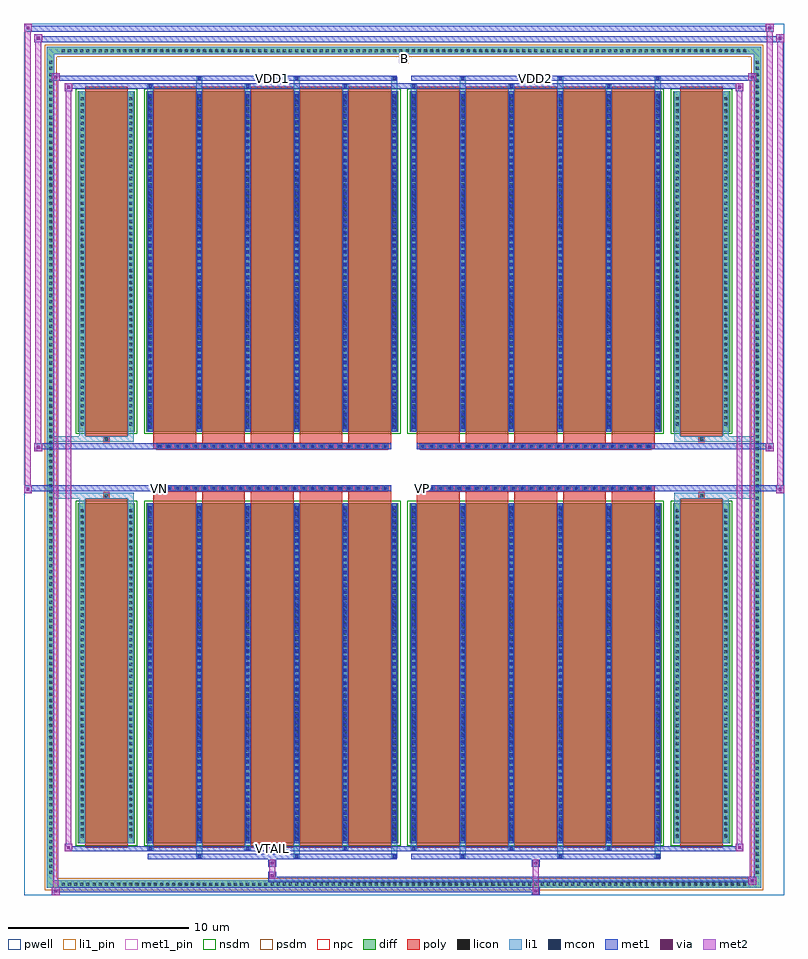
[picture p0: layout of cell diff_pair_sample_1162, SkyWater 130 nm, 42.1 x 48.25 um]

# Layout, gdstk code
import gdstk
lib = gdstk.Library(unit=1e-6, precision=5e-09)
def R(c, l, rs):  # rectangles x0, y0, x1, y1
    for r in rs: c.add(gdstk.rectangle(r[:2], r[2:], *l))
def A(c, l, x, y, w, h, nx, ny, dx, dy):  # array of equal rectangles
    R(c, l, [(x+i*dx, y+j*dy, x+i*dx+w, y+j*dy+h) for i in range(nx) for j in range(ny)])
def P(c, l, *ps):  # polygons
    for p in ps: c.add(gdstk.Polygon(p, *l))
pwell = (64, 44)
diff = (65, 20)
poly = (66, 20)
licon = (66, 44)
li1_pin = (67, 16)
li1 = (67, 20)
mcon = (67, 44)
met1_pin = (68, 16)
met1 = (68, 20)
via = (68, 44)
met2 = (69, 20)
nsdm = (93, 44)
psdm = (94, 20)
npc = (95, 20)

diff_pair_sample_1162 = lib.new_cell('diff_pair_sample_1162')
R(diff_pair_sample_1162, pwell, [(-21.05,-23.69,21.05,24.56), (-18.37,-21.88,-0.01,-0.8), (0.01,-21.88,18.37,-0.8), (-18.37,0.8,-0.01,21.88), (0.01,0.8,18.37,21.88)])
A(diff_pair_sample_1162, diff, -19.075, -23.29, 0.41, 0.41, 112, 2, 0.34, 46.17)
A(diff_pair_sample_1162, diff, -19.78, -22.645, 0.41, 0.41, 1, 133, 0, 0.34)
A(diff_pair_sample_1162, diff, 19.37, -22.645, 0.41, 0.41, 1, 133, 0, 0.34)
R(diff_pair_sample_1162, diff, [(-19.075,-23.29,19.075,-22.88), (-19.78,-22.645,-19.37,22.645), (19.37,-22.645,19.78,22.645), (-18.06,-20.835,-14.91,-1.985), (-14.27,-20.835,-0.32,-1.985), (0.32,-20.835,14.27,-1.985), (14.91,-20.835,18.06,-1.985), (-18.06,1.985,-14.91,20.835), (-14.27,1.985,-0.32,20.835), (0.32,1.985,14.27,20.835), (14.91,1.985,18.06,20.835), (-19.075,22.88,19.075,23.29)])
P(diff_pair_sample_1162, diff, [(19.78,23.29),(-19.78,23.29),(-19.78,-22.88),(-19.37,-22.88),(-19.37,22.88),(19.37,22.88),(19.37,-22.88),(-19.37,-22.88),(-19.78,-22.88),(-19.78,-23.29),(19.78,-23.29)])
A(diff_pair_sample_1162, poly, -13.88, -21.085, 2.37, 19.35, 5, 2, 2.7, 22.82)
A(diff_pair_sample_1162, poly, 0.71, -21.085, 2.37, 19.35, 5, 2, 2.7, 22.82)
A(diff_pair_sample_1162, poly, -13.88, -1.735, 2.37, 0.405, 5, 2, 2.7, 3.065)
A(diff_pair_sample_1162, poly, 0.71, -1.735, 2.37, 0.405, 5, 2, 2.7, 3.065)
A(diff_pair_sample_1162, poly, -13.71, -1.33, 0.33, 0.33, 26, 2, 0.5, 2.33)
A(diff_pair_sample_1162, poly, 0.88, -1.33, 0.33, 0.33, 26, 2, 0.5, 2.33)
R(diff_pair_sample_1162, poly, [(-17.67,-21.085,-15.3,-1.735), (15.3,-21.085,17.67,-1.735), (-16.65,-1.735,-16.32,-1.405), (-16.65,-1.735,-16.32,-1.405), (16.32,-1.735,16.65,-1.405), (16.32,-1.735,16.65,-1.405), (-13.88,-1.33,-0.71,-1), (0.71,-1.33,13.88,-1), (-13.88,1,-0.71,1.33), (0.71,1,13.88,1.33), (-16.65,1.405,-16.32,1.735), (-16.65,1.405,-16.32,1.735), (16.32,1.405,16.65,1.735), (16.32,1.405,16.65,1.735), (-17.67,1.735,-15.3,21.085), (15.3,1.735,17.67,21.085)])
A(diff_pair_sample_1162, licon, -18.955, -23.17, 0.17, 0.17, 112, 2, 0.34, 46.17)
A(diff_pair_sample_1162, licon, -19.66, -22.525, 0.17, 0.17, 1, 133, 0, 0.34)
A(diff_pair_sample_1162, licon, 19.49, -22.525, 0.17, 0.17, 1, 133, 0, 0.34)
A(diff_pair_sample_1162, licon, -17.92, -20.505, 0.17, 0.17, 1, 54, 0, 0.34)
A(diff_pair_sample_1162, licon, -15.22, -20.505, 0.17, 0.17, 1, 54, 0, 0.34)
A(diff_pair_sample_1162, licon, -14.13, -20.505, 0.17, 0.17, 6, 54, 2.7, 0.34)
A(diff_pair_sample_1162, licon, 0.46, -20.505, 0.17, 0.17, 6, 54, 2.7, 0.34)
A(diff_pair_sample_1162, licon, 15.05, -20.505, 0.17, 0.17, 1, 54, 0, 0.34)
A(diff_pair_sample_1162, licon, 17.75, -20.505, 0.17, 0.17, 1, 54, 0, 0.34)
A(diff_pair_sample_1162, licon, -13.63, -1.25, 0.17, 0.17, 26, 2, 0.5, 2.33)
A(diff_pair_sample_1162, licon, 0.96, -1.25, 0.17, 0.17, 26, 2, 0.5, 2.33)
A(diff_pair_sample_1162, licon, -17.92, 2.315, 0.17, 0.17, 1, 54, 0, 0.34)
A(diff_pair_sample_1162, licon, -15.22, 2.315, 0.17, 0.17, 1, 54, 0, 0.34)
A(diff_pair_sample_1162, licon, -14.13, 2.315, 0.17, 0.17, 6, 54, 2.7, 0.34)
A(diff_pair_sample_1162, licon, 0.46, 2.315, 0.17, 0.17, 6, 54, 2.7, 0.34)
A(diff_pair_sample_1162, licon, 15.05, 2.315, 0.17, 0.17, 1, 54, 0, 0.34)
A(diff_pair_sample_1162, licon, 17.75, 2.315, 0.17, 0.17, 1, 54, 0, 0.34)
R(diff_pair_sample_1162, licon, [(-16.57,-1.655,-16.4,-1.485), (16.4,-1.655,16.57,-1.485), (-16.57,1.485,-16.4,1.655), (16.4,1.485,16.57,1.655)])
R(diff_pair_sample_1162, li1_pin, [(-0.25,22.38,0.25,22.88)])
A(diff_pair_sample_1162, li1, -19.035, -23.25, 0.33, 0.33, 112, 2, 0.34, 46.17)
A(diff_pair_sample_1162, li1, -19.74, -22.605, 0.33, 0.33, 1, 133, 0, 0.34)
A(diff_pair_sample_1162, li1, 19.41, -22.605, 0.33, 0.33, 1, 133, 0, 0.34)
A(diff_pair_sample_1162, li1, -11.51, -21.64, 0.33, 0.805, 3, 2, 5.4, 42.475)
A(diff_pair_sample_1162, li1, -11.43, -21.64, 0.17, 0.17, 3, 2, 5.4, 43.11)
A(diff_pair_sample_1162, li1, 3.08, -21.64, 0.33, 0.805, 3, 2, 5.4, 42.475)
A(diff_pair_sample_1162, li1, 3.16, -21.64, 0.17, 0.17, 3, 2, 5.4, 43.11)
A(diff_pair_sample_1162, li1, -14.21, -21.21, 0.33, 0.375, 3, 2, 5.4, 42.045)
A(diff_pair_sample_1162, li1, -14.13, -21.21, 0.17, 0.17, 3, 2, 5.4, 42.25)
A(diff_pair_sample_1162, li1, 0.38, -21.21, 0.33, 0.375, 3, 2, 5.4, 42.045)
A(diff_pair_sample_1162, li1, 0.46, -21.21, 0.17, 0.17, 3, 2, 5.4, 42.25)
A(diff_pair_sample_1162, li1, -14.21, -20.835, 0.33, 18.85, 6, 2, 2.7, 22.82)
A(diff_pair_sample_1162, li1, 0.38, -20.835, 0.33, 18.85, 6, 2, 2.7, 22.82)
A(diff_pair_sample_1162, li1, -14.13, -20.675, 0.17, 0.17, 6, 52, 2.7, 0.36)
A(diff_pair_sample_1162, li1, -14.13, -20.675, 0.17, 18.53, 6, 2, 2.7, 22.82)
A(diff_pair_sample_1162, li1, 0.46, -20.675, 0.17, 0.17, 6, 52, 2.7, 0.36)
A(diff_pair_sample_1162, li1, 0.46, -20.675, 0.17, 18.53, 6, 2, 2.7, 22.82)
A(diff_pair_sample_1162, li1, -18, -20.585, 0.33, 0.33, 1, 54, 0, 0.34)
A(diff_pair_sample_1162, li1, -15.3, -20.585, 0.33, 0.33, 1, 54, 0, 0.34)
A(diff_pair_sample_1162, li1, -14.21, -20.585, 0.33, 0.33, 6, 54, 2.7, 0.34)
A(diff_pair_sample_1162, li1, 0.38, -20.585, 0.33, 0.33, 6, 54, 2.7, 0.34)
A(diff_pair_sample_1162, li1, 14.97, -20.585, 0.33, 0.33, 1, 54, 0, 0.34)
A(diff_pair_sample_1162, li1, 17.67, -20.585, 0.33, 0.33, 1, 54, 0, 0.34)
A(diff_pair_sample_1162, li1, -13.71, -1.33, 0.33, 0.33, 26, 2, 0.5, 2.33)
A(diff_pair_sample_1162, li1, 0.88, -1.33, 0.33, 0.33, 26, 2, 0.5, 2.33)
A(diff_pair_sample_1162, li1, -14.13, 2.145, 0.17, 0.17, 6, 52, 2.7, 0.36)
A(diff_pair_sample_1162, li1, 0.46, 2.145, 0.17, 0.17, 6, 52, 2.7, 0.36)
A(diff_pair_sample_1162, li1, -18, 2.235, 0.33, 0.33, 1, 54, 0, 0.34)
A(diff_pair_sample_1162, li1, -15.3, 2.235, 0.33, 0.33, 1, 54, 0, 0.34)
A(diff_pair_sample_1162, li1, -14.21, 2.235, 0.33, 0.33, 6, 54, 2.7, 0.34)
A(diff_pair_sample_1162, li1, 0.38, 2.235, 0.33, 0.33, 6, 54, 2.7, 0.34)
A(diff_pair_sample_1162, li1, 14.97, 2.235, 0.33, 0.33, 1, 54, 0, 0.34)
A(diff_pair_sample_1162, li1, 17.67, 2.235, 0.33, 0.33, 1, 54, 0, 0.34)
R(diff_pair_sample_1162, li1, [(-19.78,-23.29,-19.37,-22.88), (-19.78,-23.29,-19.37,-22.88), (-19.37,-23.29,19.37,-22.88), (19.37,-23.29,19.78,-22.88), (19.37,-23.29,19.78,-22.88), (-19.78,-22.88,-19.37,22.88), (19.37,-22.88,19.78,22.88), (-18,-20.835,-17.67,-1.985), (-15.3,-20.835,-14.97,-1.985), (14.97,-20.835,15.3,-1.985), (17.67,-20.835,18,-1.985), (-18,-1.985,-17.67,-1.405), (-15.3,-1.985,-14.97,-1.405), (14.97,-1.985,15.3,-1.405), (17.67,-1.985,18,-1.405), (-19.78,-1.735,-16.65,-1.405), (-18,-1.735,-16.65,-1.405), (-16.65,-1.735,-16.32,-1.405), (-16.32,-1.735,-14.97,-1.405), (14.97,-1.735,16.32,-1.405), (16.32,-1.735,16.65,-1.405), (16.32,-1.735,19.78,-1.405), (16.65,-1.735,18,-1.405), (-19.78,1.405,-16.65,1.735), (-18,1.405,-16.65,1.735), (-18,1.405,-17.67,1.985), (-16.65,1.405,-16.32,1.735), (-16.32,1.405,-14.97,1.735), (-15.3,1.405,-14.97,1.985), (14.97,1.405,16.32,1.735), (14.97,1.405,15.3,1.985), (16.32,1.405,16.65,1.735), (16.32,1.405,19.78,1.735), (16.65,1.405,18,1.735), (17.67,1.405,18,1.985), (-18,1.985,-17.67,20.835), (-15.3,1.985,-14.97,20.835), (14.97,1.985,15.3,20.835), (17.67,1.985,18,20.835), (-19.78,22.88,-19.37,23.29), (-19.78,22.88,-19.37,23.29), (-19.37,22.88,19.37,23.29), (19.37,22.88,19.78,23.29), (19.37,22.88,19.78,23.29)])
A(diff_pair_sample_1162, mcon, -11.43, -21.64, 0.17, 0.17, 3, 2, 5.4, 43.11)
A(diff_pair_sample_1162, mcon, 3.16, -21.64, 0.17, 0.17, 3, 2, 5.4, 43.11)
A(diff_pair_sample_1162, mcon, -14.13, -21.21, 0.17, 0.17, 3, 2, 5.4, 42.25)
A(diff_pair_sample_1162, mcon, 0.46, -21.21, 0.17, 0.17, 3, 2, 5.4, 42.25)
A(diff_pair_sample_1162, mcon, -14.13, -20.675, 0.17, 0.17, 6, 52, 2.7, 0.36)
A(diff_pair_sample_1162, mcon, 0.46, -20.675, 0.17, 0.17, 6, 52, 2.7, 0.36)
A(diff_pair_sample_1162, mcon, -13.63, -1.25, 0.17, 0.17, 26, 2, 0.5, 2.33)
A(diff_pair_sample_1162, mcon, 0.96, -1.25, 0.17, 0.17, 26, 2, 0.5, 2.33)
A(diff_pair_sample_1162, mcon, -14.13, 2.145, 0.17, 0.17, 6, 52, 2.7, 0.36)
A(diff_pair_sample_1162, mcon, 0.46, 2.145, 0.17, 0.17, 6, 52, 2.7, 0.36)
R(diff_pair_sample_1162, met1_pin, [(-7.43,-21.25,-7.16,-20.98), (-13.68,-1.29,-13.41,-1.02), (0.91,-1.29,1.18,-1.02), (-7.43,21.43,-7.16,21.7), (7.16,21.43,7.43,21.7)])
A(diff_pair_sample_1162, met1, -11.49, -21.7, 0.29, 0.29, 3, 2, 5.4, 43.11)
A(diff_pair_sample_1162, met1, 3.1, -21.7, 0.29, 0.29, 3, 2, 5.4, 43.11)
A(diff_pair_sample_1162, met1, -14.19, -21.27, 0.29, 0.29, 3, 2, 5.4, 42.25)
A(diff_pair_sample_1162, met1, 0.4, -21.27, 0.29, 0.29, 3, 2, 5.4, 42.25)
A(diff_pair_sample_1162, met1, -14.19, -20.835, 0.29, 18.85, 6, 2, 2.7, 22.82)
A(diff_pair_sample_1162, met1, 0.4, -20.835, 0.29, 18.85, 6, 2, 2.7, 22.82)
A(diff_pair_sample_1162, met1, -14.19, -20.735, 0.29, 0.29, 6, 52, 2.7, 0.36)
A(diff_pair_sample_1162, met1, 0.4, -20.735, 0.29, 0.29, 6, 52, 2.7, 0.36)
A(diff_pair_sample_1162, met1, -13.69, -1.31, 0.29, 0.29, 26, 2, 0.5, 2.33)
A(diff_pair_sample_1162, met1, 0.9, -1.31, 0.29, 0.29, 26, 2, 0.5, 2.33)
A(diff_pair_sample_1162, met1, -14.19, 2.085, 0.29, 0.29, 6, 52, 2.7, 0.36)
A(diff_pair_sample_1162, met1, 0.4, 2.085, 0.29, 0.29, 6, 52, 2.7, 0.36)
R(diff_pair_sample_1162, met1, [(-19.51,-23.69,-19.08,-23.26), (7.08,-23.69,7.51,-23.26), (-19.51,-23.55,7.51,-23.26), (19.08,-23.12,19.51,-22.69), (-7.51,-22.98,19.51,-22.69), (-7.51,-22.84,-7.08,-22.41), (-7.51,-22.13,-7.08,-21.7), (7.08,-22.13,7.51,-21.7), (-14.19,-21.7,-0.4,-21.41), (0.4,-21.7,14.19,-21.41), (-18.8,-21.27,-18.37,-20.84), (-18.8,-21.27,-14.19,-20.98), (-14.19,-21.27,-0.4,-20.98), (-0.4,-21.27,0.4,-20.98), (0.4,-21.27,14.19,-20.98), (14.19,-21.27,18.8,-20.98), (18.37,-21.27,18.8,-20.84), (-21.05,-1.43,-20.62,-1), (20.62,-1.43,21.05,-1), (-21.05,-1.33,-0.71,-1), (-13.88,-1.33,-0.71,-1), (0.71,-1.33,13.88,-1), (0.71,-1.33,21.05,-1), (-20.48,0.9,-20.05,1.33), (20.05,0.9,20.48,1.33), (-20.48,1,-13.88,1.33), (-13.88,1,-0.71,1.33), (0.71,1,13.88,1.33), (13.88,1,20.48,1.33), (-18.8,20.84,-18.37,21.27), (18.37,20.84,18.8,21.27), (-18.8,20.98,-14.19,21.27), (-14.19,20.98,-0.4,21.27), (-0.4,20.98,0.4,21.27), (0.4,20.98,14.19,21.27), (14.19,20.98,18.8,21.27), (-19.51,21.41,-19.08,21.84), (-19.51,21.41,-14.19,21.7), (-14.19,21.41,-0.4,21.7), (0.4,21.41,14.19,21.7), (14.19,21.41,19.51,21.7), (19.08,21.41,19.51,21.84), (-20.48,23.56,-20.05,23.99), (-20.48,23.56,-18.37,23.89), (-18.37,23.56,18.37,23.89), (18.37,23.56,21.05,23.89), (20.62,23.56,21.05,23.99), (-21.05,24.13,-20.62,24.56), (-21.05,24.13,-18.37,24.46), (-18.37,24.13,18.37,24.46), (18.37,24.13,20.48,24.46), (20.05,24.13,20.48,24.56)])
R(diff_pair_sample_1162, via, [(-19.37,-23.55,-19.22,-23.4), (7.22,-23.55,7.37,-23.4), (19.22,-22.98,19.37,-22.83), (-7.37,-22.7,-7.22,-22.55), (-7.37,-21.99,-7.22,-21.84), (7.22,-21.99,7.37,-21.84), (-18.66,-21.13,-18.51,-20.98), (18.51,-21.13,18.66,-20.98), (-20.91,-1.29,-20.76,-1.14), (20.76,-1.29,20.91,-1.14), (-20.34,1.04,-20.19,1.19), (20.19,1.04,20.34,1.19), (-18.66,20.98,-18.51,21.13), (18.51,20.98,18.66,21.13), (-19.37,21.55,-19.22,21.7), (19.22,21.55,19.37,21.7), (-20.34,23.7,-20.19,23.85), (20.76,23.7,20.91,23.85), (-20.91,24.27,-20.76,24.42), (20.19,24.27,20.34,24.42)])
R(diff_pair_sample_1162, met2, [(-19.51,-23.69,-19.08,-23.26), (-19.44,-23.69,-19.15,21.84), (-19.15,-23.69,-19.08,-23.26), (-19.46,-23.64,-19.13,-23.31), (7.13,-23.64,7.46,-23.31), (7.13,-23.31,7.46,-22.08), (19.08,-23.12,19.51,-22.69), (19.15,-23.12,19.44,21.84), (19.44,-23.12,19.51,-22.69), (19.13,-23.07,19.46,-22.74), (-7.46,-22.79,-7.13,-22.46), (-7.46,-22.46,-7.13,-22.08), (-7.46,-22.08,-7.13,-21.75), (7.13,-22.08,7.46,-21.75), (-18.8,-21.27,-18.37,-20.84), (-18.73,-21.27,-18.44,21.27), (-18.44,-21.27,-18.37,-20.84), (18.37,-21.27,18.8,-20.84), (18.44,-21.27,18.73,21.27), (18.73,-21.27,18.8,-20.84), (-18.75,-21.22,-18.42,-20.89), (18.42,-21.22,18.75,-20.89), (-21.05,-1.43,-20.62,-1), (-21,-1.43,-20.67,24.56), (-20.67,-1.43,-20.62,-1), (20.62,-1.43,21.05,-1), (20.67,-1.43,21,23.99), (21,-1.43,21.05,-1), (-21,-1.38,-20.67,-1.05), (20.67,-1.38,21,-1.05), (-20.48,0.9,-20.05,1.33), (-20.43,0.9,-20.1,23.99), (-20.1,0.9,-20.05,1.33), (20.05,0.9,20.48,1.33), (20.1,0.9,20.43,24.56), (20.43,0.9,20.48,1.33), (-20.43,0.95,-20.1,1.28), (20.1,0.95,20.43,1.28), (-18.8,20.84,-18.37,21.27), (-18.44,20.84,-18.37,21.27), (18.37,20.84,18.8,21.27), (18.73,20.84,18.8,21.27), (-18.75,20.89,-18.42,21.22), (18.42,20.89,18.75,21.22), (-19.51,21.41,-19.08,21.84), (-19.15,21.41,-19.08,21.84), (19.08,21.41,19.51,21.84), (19.44,21.41,19.51,21.84), (-19.46,21.46,-19.13,21.79), (19.13,21.46,19.46,21.79), (-20.48,23.56,-20.05,23.99), (-20.1,23.56,-20.05,23.99), (20.62,23.56,21.05,23.99), (21,23.56,21.05,23.99), (-20.43,23.61,-20.1,23.94), (20.67,23.61,21,23.94), (-21.05,24.13,-20.62,24.56), (-20.67,24.13,-20.62,24.56), (20.05,24.13,20.48,24.56), (20.43,24.13,20.48,24.56), (-21,24.18,-20.67,24.51), (20.1,24.18,20.43,24.51)])
R(diff_pair_sample_1162, nsdm, [(-18.19,-20.965,-14.78,-1.855), (-14.4,-20.965,-0.19,-1.855), (0.19,-20.965,14.4,-1.855), (14.78,-20.965,18.19,-1.855), (-18.19,1.855,-14.78,20.965), (-14.4,1.855,-0.19,20.965), (0.19,1.855,14.4,20.965), (14.78,1.855,18.19,20.965)])
P(diff_pair_sample_1162, psdm, [(19.91,23.42),(-19.91,23.42),(-19.91,-22.75),(-19.24,-22.75),(-19.24,22.75),(19.24,22.75),(19.24,-22.75),(-19.24,-22.75),(-19.91,-22.75),(-19.91,-23.42),(19.91,-23.42)])
A(diff_pair_sample_1162, npc, -13.73, -1.35, 0.37, 0.37, 26, 2, 0.5, 2.33)
A(diff_pair_sample_1162, npc, 0.86, -1.35, 0.37, 0.37, 26, 2, 0.5, 2.33)
R(diff_pair_sample_1162, npc, [(-16.67,-1.755,-16.3,-1.385), (16.3,-1.755,16.67,-1.385), (-13.73,-1.35,-12.86,-0.98), (-13.73,-1.35,-12.86,-0.98), (-13.23,-1.35,-12.36,-0.98), (-13.23,-1.35,-12.36,-0.98), (-12.73,-1.35,-11.86,-0.98), (-12.73,-1.35,-11.86,-0.98), (-12.23,-1.35,-11.36,-0.98), (-12.23,-1.35,-11.36,-0.98), (-11.73,-1.35,-10.86,-0.98), (-11.73,-1.35,-10.86,-0.98), (-11.23,-1.35,-10.36,-0.98), (-11.23,-1.35,-10.36,-0.98), (-10.73,-1.35,-9.86,-0.98), (-10.73,-1.35,-9.86,-0.98), (-10.23,-1.35,-9.36,-0.98), (-10.23,-1.35,-9.36,-0.98), (-9.73,-1.35,-8.86,-0.98), (-9.73,-1.35,-8.86,-0.98), (-9.23,-1.35,-8.36,-0.98), (-9.23,-1.35,-8.36,-0.98), (-8.73,-1.35,-7.86,-0.98), (-8.73,-1.35,-7.86,-0.98), (-8.23,-1.35,-7.36,-0.98), (-8.23,-1.35,-7.36,-0.98), (-7.73,-1.35,-6.86,-0.98), (-7.73,-1.35,-6.86,-0.98), (-7.23,-1.35,-6.36,-0.98), (-7.23,-1.35,-6.36,-0.98), (-6.73,-1.35,-5.86,-0.98), (-6.73,-1.35,-5.86,-0.98), (-6.23,-1.35,-5.36,-0.98), (-6.23,-1.35,-5.36,-0.98), (-5.73,-1.35,-4.86,-0.98), (-5.73,-1.35,-4.86,-0.98), (-5.23,-1.35,-4.36,-0.98), (-5.23,-1.35,-4.36,-0.98), (-4.73,-1.35,-3.86,-0.98), (-4.73,-1.35,-3.86,-0.98), (-4.23,-1.35,-3.36,-0.98), (-4.23,-1.35,-3.36,-0.98), (-3.73,-1.35,-2.86,-0.98), (-3.73,-1.35,-2.86,-0.98), (-3.23,-1.35,-2.36,-0.98), (-3.23,-1.35,-2.36,-0.98), (-2.73,-1.35,-1.86,-0.98), (-2.73,-1.35,-1.86,-0.98), (-2.23,-1.35,-1.36,-0.98), (-2.23,-1.35,-1.36,-0.98), (-1.73,-1.35,-0.86,-0.98), (-1.73,-1.35,-0.86,-0.98), (0.86,-1.35,1.73,-0.98), (0.86,-1.35,1.73,-0.98), (1.36,-1.35,2.23,-0.98), (1.36,-1.35,2.23,-0.98), (1.86,-1.35,2.73,-0.98), (1.86,-1.35,2.73,-0.98), (2.36,-1.35,3.23,-0.98), (2.36,-1.35,3.23,-0.98), (2.86,-1.35,3.73,-0.98), (2.86,-1.35,3.73,-0.98), (3.36,-1.35,4.23,-0.98), (3.36,-1.35,4.23,-0.98), (3.86,-1.35,4.73,-0.98), (3.86,-1.35,4.73,-0.98), (4.36,-1.35,5.23,-0.98), (4.36,-1.35,5.23,-0.98), (4.86,-1.35,5.73,-0.98), (4.86,-1.35,5.73,-0.98), (5.36,-1.35,6.23,-0.98), (5.36,-1.35,6.23,-0.98), (5.86,-1.35,6.73,-0.98), (5.86,-1.35,6.73,-0.98), (6.36,-1.35,7.23,-0.98), (6.36,-1.35,7.23,-0.98), (6.86,-1.35,7.73,-0.98), (6.86,-1.35,7.73,-0.98), (7.36,-1.35,8.23,-0.98), (7.36,-1.35,8.23,-0.98), (7.86,-1.35,8.73,-0.98), (7.86,-1.35,8.73,-0.98), (8.36,-1.35,9.23,-0.98), (8.36,-1.35,9.23,-0.98), (8.86,-1.35,9.73,-0.98), (8.86,-1.35,9.73,-0.98), (9.36,-1.35,10.23,-0.98), (9.36,-1.35,10.23,-0.98), (9.86,-1.35,10.73,-0.98), (9.86,-1.35,10.73,-0.98), (10.36,-1.35,11.23,-0.98), (10.36,-1.35,11.23,-0.98), (10.86,-1.35,11.73,-0.98), (10.86,-1.35,11.73,-0.98), (11.36,-1.35,12.23,-0.98), (11.36,-1.35,12.23,-0.98), (11.86,-1.35,12.73,-0.98), (11.86,-1.35,12.73,-0.98), (12.36,-1.35,13.23,-0.98), (12.36,-1.35,13.23,-0.98), (12.86,-1.35,13.73,-0.98), (12.86,-1.35,13.73,-0.98), (-13.73,0.98,-12.86,1.35), (-13.73,0.98,-12.86,1.35), (-13.23,0.98,-12.36,1.35), (-13.23,0.98,-12.36,1.35), (-12.73,0.98,-11.86,1.35), (-12.73,0.98,-11.86,1.35), (-12.23,0.98,-11.36,1.35), (-12.23,0.98,-11.36,1.35), (-11.73,0.98,-10.86,1.35), (-11.73,0.98,-10.86,1.35), (-11.23,0.98,-10.36,1.35), (-11.23,0.98,-10.36,1.35), (-10.73,0.98,-9.86,1.35), (-10.73,0.98,-9.86,1.35), (-10.23,0.98,-9.36,1.35), (-10.23,0.98,-9.36,1.35), (-9.73,0.98,-8.86,1.35), (-9.73,0.98,-8.86,1.35), (-9.23,0.98,-8.36,1.35), (-9.23,0.98,-8.36,1.35), (-8.73,0.98,-7.86,1.35), (-8.73,0.98,-7.86,1.35), (-8.23,0.98,-7.36,1.35), (-8.23,0.98,-7.36,1.35), (-7.73,0.98,-6.86,1.35), (-7.73,0.98,-6.86,1.35), (-7.23,0.98,-6.36,1.35), (-7.23,0.98,-6.36,1.35), (-6.73,0.98,-5.86,1.35), (-6.73,0.98,-5.86,1.35), (-6.23,0.98,-5.36,1.35), (-6.23,0.98,-5.36,1.35), (-5.73,0.98,-4.86,1.35), (-5.73,0.98,-4.86,1.35), (-5.23,0.98,-4.36,1.35), (-5.23,0.98,-4.36,1.35), (-4.73,0.98,-3.86,1.35), (-4.73,0.98,-3.86,1.35), (-4.23,0.98,-3.36,1.35), (-4.23,0.98,-3.36,1.35), (-3.73,0.98,-2.86,1.35), (-3.73,0.98,-2.86,1.35), (-3.23,0.98,-2.36,1.35), (-3.23,0.98,-2.36,1.35), (-2.73,0.98,-1.86,1.35), (-2.73,0.98,-1.86,1.35), (-2.23,0.98,-1.36,1.35), (-2.23,0.98,-1.36,1.35), (-1.73,0.98,-0.86,1.35), (-1.73,0.98,-0.86,1.35), (0.86,0.98,1.73,1.35), (0.86,0.98,1.73,1.35), (1.36,0.98,2.23,1.35), (1.36,0.98,2.23,1.35), (1.86,0.98,2.73,1.35), (1.86,0.98,2.73,1.35), (2.36,0.98,3.23,1.35), (2.36,0.98,3.23,1.35), (2.86,0.98,3.73,1.35), (2.86,0.98,3.73,1.35), (3.36,0.98,4.23,1.35), (3.36,0.98,4.23,1.35), (3.86,0.98,4.73,1.35), (3.86,0.98,4.73,1.35), (4.36,0.98,5.23,1.35), (4.36,0.98,5.23,1.35), (4.86,0.98,5.73,1.35), (4.86,0.98,5.73,1.35), (5.36,0.98,6.23,1.35), (5.36,0.98,6.23,1.35), (5.86,0.98,6.73,1.35), (5.86,0.98,6.73,1.35), (6.36,0.98,7.23,1.35), (6.36,0.98,7.23,1.35), (6.86,0.98,7.73,1.35), (6.86,0.98,7.73,1.35), (7.36,0.98,8.23,1.35), (7.36,0.98,8.23,1.35), (7.86,0.98,8.73,1.35), (7.86,0.98,8.73,1.35), (8.36,0.98,9.23,1.35), (8.36,0.98,9.23,1.35), (8.86,0.98,9.73,1.35), (8.86,0.98,9.73,1.35), (9.36,0.98,10.23,1.35), (9.36,0.98,10.23,1.35), (9.86,0.98,10.73,1.35), (9.86,0.98,10.73,1.35), (10.36,0.98,11.23,1.35), (10.36,0.98,11.23,1.35), (10.86,0.98,11.73,1.35), (10.86,0.98,11.73,1.35), (11.36,0.98,12.23,1.35), (11.36,0.98,12.23,1.35), (11.86,0.98,12.73,1.35), (11.86,0.98,12.73,1.35), (12.36,0.98,13.23,1.35), (12.36,0.98,13.23,1.35), (12.86,0.98,13.73,1.35), (12.86,0.98,13.73,1.35), (-16.67,1.385,-16.3,1.755), (16.3,1.385,16.67,1.755)])
diff_pair_sample_1162.add(gdstk.Label('VTAIL', (-7.295,-21.115), layer=68, texttype=5))
diff_pair_sample_1162.add(gdstk.Label('VN', (-13.545,-1.155), layer=68, texttype=5))
diff_pair_sample_1162.add(gdstk.Label('VP', (1.045,-1.155), layer=68, texttype=5))
diff_pair_sample_1162.add(gdstk.Label('B', (0,22.63), layer=67, texttype=5))
diff_pair_sample_1162.add(gdstk.Label('VDD2', (7.295,21.565), layer=68, texttype=5))
diff_pair_sample_1162.add(gdstk.Label('VDD1', (-7.295,21.565), layer=68, texttype=5))

lib.write_gds('diff_pair_sample_1162.gds')
